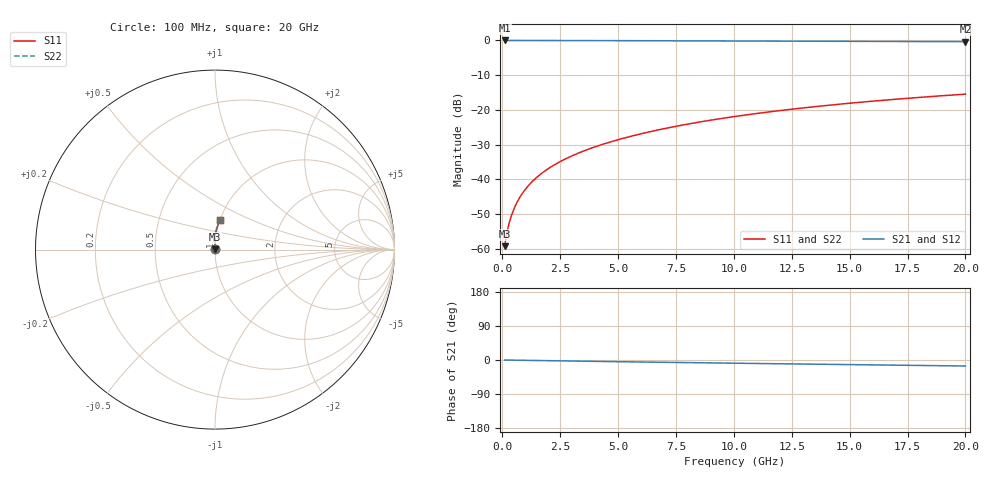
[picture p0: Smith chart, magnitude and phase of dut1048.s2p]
! Touchstone file exported from HFSS 2024.1.0
!  File:  C:/UserFiles/LocalFiles/RDL_TSV_Batchsim/temp_RDL_top_1048_1780044378.aedt
!  Generated:  04:48:27 PM May 29, 2026
!  Design:  RDL_top
!  Project:  temp_RDL_top_1048_1780044378
!  Setup:  Setup1
!  Solution:  Sweep
! Variables:
!  dtsv = 10.80580581um
!  hbump = 3um
!  htsv = 99.38um
!  ldown = 100um
!  lrdl = 194.67um
!  p = 40
!  p1 = 54.1um
!  rhole = 1um
!  t = 450um
!  tdown = 3.915915916um
!  trdl = 4.75um
!  wdown = 15.38538539um
!  wrdl = 24.55um
# GHz S MA R 50.000000
! Terminal data exported
! Port[1] = Box2_T1
! Port[2] = Box2_T2
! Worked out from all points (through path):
!   200 points, 100 MHz to 20 GHz, reference 50 ohm
!   highest |S21| = -0.01 dB at 100 MHz (marker M1); lowest = -0.4 dB at 20 GHz (marker M2)
!   group delay of S21, straight-line fit = 2.17 ps
!   lowest |S11| = -59.3 dB at 100 MHz (marker M3), VSWR 1.00, Z = 50.1 + j0.0776 ohm
!   |S11| at or under -10 dB: start of sweep to end of sweep
!   |S22| runs from -59.3 to -15.5 dB; largest |S21 - S12| = 6.2e-15
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0.1  0.001088 45.5  0.9992 -0.1  0.9992 -0.1  0.001088 45.5
! Gamma 0 0 0 0
! Port Impedance 50 0 50 0
0.2  0.001711 61.8  0.9992 -0.2  0.9992 -0.2  0.001711 61.8
0.3  0.002369 69.2  0.9991 -0.3  0.9991 -0.3  0.002369 69.2
0.4  0.003039 73.6  0.9991 -0.4  0.9991 -0.4  0.003039 73.6
0.5  0.003718 76.6  0.999 -0.5  0.999 -0.5  0.003718 76.6
0.6  0.004405 78.7  0.9989 -0.6  0.9989 -0.6  0.004405 78.7
0.8  0.005793 81.5  0.9988 -0.7  0.9988 -0.7  0.005793 81.5
1.1  0.007902 84.1  0.9986 -1.0  0.9986 -1.0  0.007902 84.1
1.5  0.01074 86.0  0.9983 -1.4  0.9983 -1.4  0.01074 86.0
1.8  0.01289 87.0  0.998 -1.7  0.998 -1.7  0.01289 87.0
2.1  0.01506 87.7  0.9976 -1.9  0.9976 -1.9  0.01506 87.7
2.7  0.01945 88.8  0.9967 -2.5  0.9967 -2.5  0.01945 88.8
3.5  0.02544 89.7  0.9954 -3.2  0.9954 -3.2  0.02544 89.7
4.2  0.03082 90.2  0.994 -3.8  0.994 -3.8  0.03082 90.2
5  0.03714 90.5  0.9923 -4.5  0.9923 -4.5  0.03714 90.5
6.8  0.05198 90.5  0.9882 -6.0  0.9882 -6.0  0.05198 90.5
8.4  0.06576 89.8  0.9845 -7.2  0.9845 -7.2  0.06576 89.8
10.1  0.08077 88.7  0.9807 -8.5  0.9807 -8.5  0.08076 88.7
11.7  0.09507 87.5  0.9772 -9.7  0.9772 -9.7  0.09506 87.5
13.4  0.1103 86.0  0.9736 -11.0  0.9736 -11.0  0.1103 86.0
16.7  0.1397 83.1  0.9667 -13.4  0.9667 -13.4  0.1397 83.1
20  0.1685 80.1  0.9598 -15.8  0.9598 -15.8  0.1685 80.1
